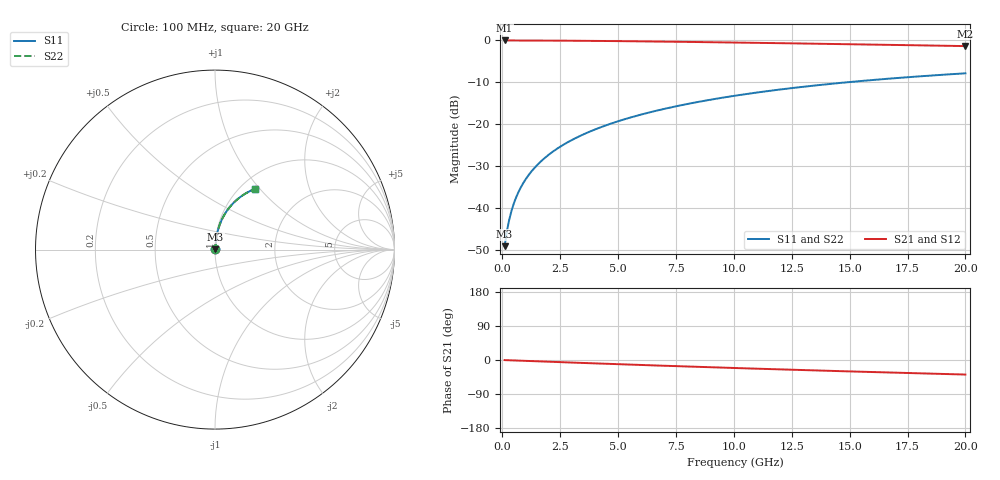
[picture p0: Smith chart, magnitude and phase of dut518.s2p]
! Touchstone file exported from HFSS 2024.1.0
!  File:  C:/UserFiles/LocalFiles/RDL_TSV_Batchsim/temp_RDL_top_518_1779679709.aedt
!  Generated:  11:30:39 AM May 25, 2026
!  Design:  RDL_top
!  Project:  temp_RDL_top_518_1779679709
!  Setup:  Setup1
!  Solution:  Sweep
! Variables:
!  dtsv = 10.80580581um
!  hbump = 3um
!  htsv = 97.31um
!  ldown = 100um
!  lrdl = 486.36um
!  p = 40
!  p1 = 56.66um
!  rhole = 1um
!  t = 450um
!  tdown = 3.915915916um
!  trdl = 3.75um
!  wdown = 15.38538539um
!  wrdl = 18.11um
# GHz S MA R 50.000000
! Terminal data exported
! Port[1] = Box2_T1
! Port[2] = Box2_T2
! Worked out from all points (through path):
!   200 points, 100 MHz to 20 GHz, reference 50 ohm
!   highest |S21| = -0.02 dB at 100 MHz (marker M1); lowest = -1.4 dB at 20 GHz (marker M2)
!   group delay of S21, straight-line fit = 5.31 ps
!   lowest |S11| = -49.1 dB at 100 MHz (marker M3), VSWR 1.01, Z = 50.3 + j0.229 ohm
!   |S11| at or under -10 dB: start of sweep to 14.88 GHz
!   |S22| runs from -49.1 to -7.9 dB; largest |S21 - S12| = 4.3e-15
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0.1  0.00352 40.2  0.9973 -0.2  0.9973 -0.2  0.00352 40.2
! Gamma 0 0 0 0
! Port Impedance 50 0 50 0
0.2  0.005298 58.3  0.9972 -0.5  0.9972 -0.5  0.005298 58.3
0.3  0.007294 66.6  0.9971 -0.7  0.9971 -0.7  0.007295 66.6
0.4  0.009343 71.2  0.9969 -0.9  0.9969 -0.9  0.009343 71.2
0.5  0.01141 74.1  0.9968 -1.2  0.9968 -1.2  0.01141 74.1
0.6  0.01349 76.1  0.9967 -1.4  0.9967 -1.4  0.01349 76.1
0.8  0.01767 78.8  0.9964 -1.8  0.9964 -1.8  0.01767 78.8
1.1  0.024 81.0  0.9959 -2.5  0.9959 -2.5  0.024 81.0
1.5  0.0325 82.4  0.995 -3.4  0.995 -3.4  0.0325 82.4
1.8  0.03891 82.9  0.9943 -4.1  0.9943 -4.1  0.03891 82.9
2.1  0.04535 83.2  0.9934 -4.8  0.9934 -4.8  0.04535 83.2
2.7  0.0583 83.3  0.9913 -6.1  0.9913 -6.1  0.0583 83.3
3.5  0.07567 82.9  0.9878 -7.8  0.9878 -7.8  0.07567 82.9
4.2  0.09096 82.2  0.9842 -9.4  0.9842 -9.4  0.09097 82.2
5  0.1085 81.3  0.9796 -11.1  0.9796 -11.1  0.1085 81.3
5.9  0.1284 80.1  0.9738 -13.0  0.9738 -13.0  0.1284 80.2
6.8  0.1482 78.8  0.9675 -14.8  0.9675 -14.8  0.1482 78.8
8.4  0.1833 76.3  0.9555 -18.0  0.9555 -18.0  0.1833 76.3
10.1  0.2199 73.4  0.9418 -21.3  0.9418 -21.3  0.22 73.4
13.4  0.2877 67.7  0.9136 -27.3  0.9136 -27.3  0.2878 67.7
16.7  0.3496 62.0  0.8841 -33.0  0.8841 -33.0  0.3496 62.0
20  0.4046 56.6  0.8542 -38.4  0.8542 -38.4  0.4047 56.6
